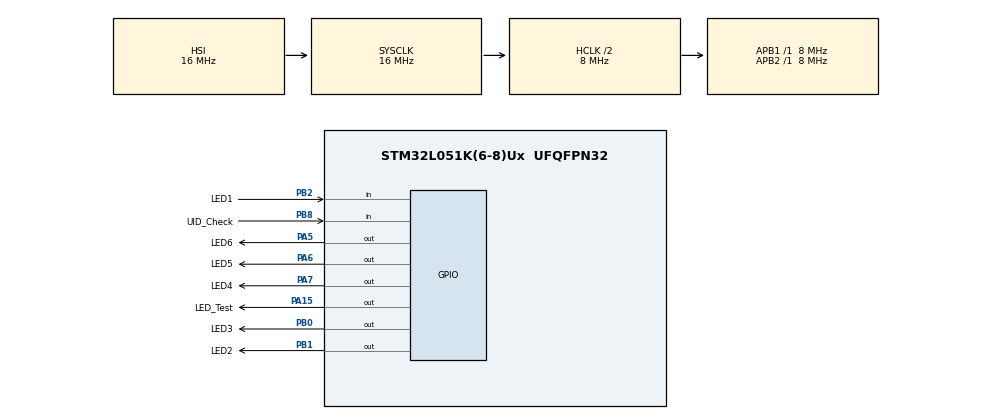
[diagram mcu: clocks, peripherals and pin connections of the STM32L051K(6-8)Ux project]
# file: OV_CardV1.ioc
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Mcu.Family=STM32L0
Mcu.Name=STM32L051K(6-8)Ux
Mcu.Package=UFQFPN32
NVIC.PVD_IRQn=true\:0\:0\:false\:false\:true\:true\:true\:true
PA13.Mode=Serial_Wire
PA13.Signal=SYS_SWDIO
PA14.Mode=Serial_Wire
PA14.Signal=SYS_SWCLK
PA15.GPIO_Label=LED_Test
PA15.Signal=GPIO_Output
PA5.GPIO_Label=LED6
PA5.Signal=GPIO_Output
PA6.GPIO_Label=LED5
PA6.Signal=GPIO_Output
PA7.GPIO_Label=LED4
PA7.Signal=GPIO_Output
PB0.GPIO_Label=LED3
PB0.Signal=GPIO_Output
PB1.GPIO_Label=LED2
PB1.Signal=GPIO_Output
PB2.GPIO_Label=LED1
PB2.Signal=GPIO_Input
PB8.GPIO_Label=UID_Check
PB8.Signal=GPIO_Input
ProjectManager.HeapSize=0x200
ProjectManager.StackSize=0x400
ProjectManager.TargetToolchain=MDK-ARM V5.32
RCC.AHBCLKDivider=RCC_SYSCLK_DIV2
RCC.AHBFreq_Value=8000000
RCC.APB1Freq_Value=8000000
RCC.APB1TimFreq_Value=8000000
RCC.APB2Freq_Value=8000000
RCC.APB2TimFreq_Value=8000000
RCC.HCLKFreq_Value=8000000
RCC.HSI16_VALUE=16000000
RCC.HSI_VALUE=16000000
RCC.LSE_VALUE=32768
RCC.MSI_VALUE=2097000
RCC.SYSCLKFreq_VALUE=16000000
RCC.SYSCLKSource=RCC_SYSCLKSOURCE_HSI
RCC.VCOOutputFreq_Value=48000000
SYS.Mode=PWR_PVD_MODE_IT_RISING
SYS.PVDLevel=PWR_PVDLEVEL_6
VP_SYS_V_PVD_IN.Mode=Mode_PVD_Int
board=custom

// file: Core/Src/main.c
/* USER CODE BEGIN Header */
/**
  ******************************************************************************
  * @file           : main.c
  * @brief          : Main program body
  ******************************************************************************
  * @attention
  *
  * Copyright (c) 2023 STMicroelectronics.
  * All rights reserved.
  *
  * This software is licensed under terms that can be found in the LICENSE file
  * in the root directory of this software component.
  * If no LICENSE file comes with this software, it is provided AS-IS.
  *
  ******************************************************************************
  */
/* USER CODE END Header */
#include "main.h"
#include "gpio.h"

/* USER CODE BEGIN Includes */
#include "RC522.h"
#include "key.h"
#include "EEPROM.h"
/* USER CODE END Includes */

/* USER CODE BEGIN PV */

uint8_t RC522_ERRO = 1;
uint8_t EEPROM_ERRO = 1;

/* USER CODE END PV */

void SystemClock_Config(void);

/* USER CODE BEGIN 0 */
unsigned char snr, TagType[2], SelectedSnr[4], DefaultKey[6] = {0xFF, 0xFF, 0xFF, 0xFF, 0xFF, 0xFF};
/* USER CODE END 0 */

int main(void)
{
  /* USER CODE BEGIN 1 */

	uint8_t status;
	uint8_t read_buf[16];
	uint8_t data_addr;
	uint8_t cuid_flag = 1;
  /* USER CODE END 1 */

  /* MCU Configuration--------------------------------------------------------*/

  /* Reset of all peripherals, Initializes the Flash interface and the Systick. */
  HAL_Init();

  /* Configure the system clock */
  SystemClock_Config();

  /* Initialize all configured peripherals */
  MX_GPIO_Init();
  /* USER CODE BEGIN 2 */
	HAL_GPIO_WritePin(GPIOA,LED6_Pin|LED5_Pin|LED4_Pin,GPIO_PIN_RESET);
	HAL_GPIO_WritePin(GPIOB,LED1_Pin|LED2_Pin|LED3_Pin,GPIO_PIN_RESET);

	key_port_init();

	RC522_Port_Init();
	RC522_PowerOff();

	if(!EEPROM_Read_W_CHECK(0x00,read_buf,2))
	{
		if(read_buf[0] == 0x55 && read_buf[1] == 0xAA)
		{
			EEPROM_ERRO = 0;
			EEPROM_Read_W_CHECK(DATA_ADDR_ADDR,&data_addr,1);
		}
		else//first use
		{
			read_buf[0] = 0x55;
			read_buf[1] = 0xAA;
			read_buf[2] = 0x10;
			EEPROM_ERRO = EEPROM_Write_W_CHECK(0,read_buf,3);
		}
	}

	HAL_GPIO_WritePin(GPIOA,GPIO_PIN_15,GPIO_PIN_SET);
  /* USER CODE END 2 */

  /* Infinite loop */
  while (1)
  {

    /* USER CODE BEGIN 3 */

		/*****************Key Scan*****************/
		uint8_t key;
		key = KeyScan(0);
		if(key == 1)
		{
			data_addr -= 0x10;//data_addr --, change to previous UID
			if(data_addr<0x10)
				data_addr = 0x10*ID_NUM;
			HAL_GPIO_WritePin(UID_Check_GPIO_Port,UID_Check_Pin,GPIO_PIN_SET);
			if(!EEPROM_ERRO)
			{
				EEPROM_Write_W_CHECK(DATA_ADDR_ADDR,&data_addr,1);
			}
			cuid_flag = 1;
			HAL_GPIO_WritePin(GPIOA,LED6_Pin|LED5_Pin|LED4_Pin,GPIO_PIN_RESET);
			HAL_GPIO_WritePin(GPIOB,LED1_Pin|LED2_Pin|LED3_Pin,GPIO_PIN_RESET);
		}
		else if(key == 2)
		{
			data_addr += 0x10;//data_addr add, change to next UID
			if(data_addr>(0x10*ID_NUM))
				data_addr = 0x10;
			HAL_GPIO_WritePin(UID_Check_GPIO_Port,UID_Check_Pin,GPIO_PIN_SET);
			if(!EEPROM_ERRO)
			{
				EEPROM_Write_W_CHECK(DATA_ADDR_ADDR,&data_addr,1);
			}
			cuid_flag = 1;
			HAL_GPIO_WritePin(GPIOA,LED6_Pin|LED5_Pin|LED4_Pin,GPIO_PIN_RESET);
			HAL_GPIO_WritePin(GPIOB,LED1_Pin|LED2_Pin|LED3_Pin,GPIO_PIN_RESET);
		}
		/******************************************/

		/*********check the ID Change and turn the LED**************/
		uint8_t temp = data_addr>>4 & 0x0f;
		//temp = temp>>4 & 0x0F;
		switch(temp)
		{
			case 1:
				HAL_GPIO_WritePin(GPIOB,LED1_Pin,GPIO_PIN_SET);
				break;
			case 2:
				HAL_GPIO_WritePin(GPIOB,LED2_Pin,GPIO_PIN_SET);
				break;
			case 3:
				HAL_GPIO_WritePin(GPIOB,LED3_Pin,GPIO_PIN_SET);
				break;
			case 4:
				HAL_GPIO_WritePin(GPIOA,LED4_Pin,GPIO_PIN_SET);
				break;
			case 5:
				HAL_GPIO_WritePin(GPIOA,LED5_Pin,GPIO_PIN_SET);
				break;
			case 6:
				HAL_GPIO_WritePin(GPIOA,LED6_Pin,GPIO_PIN_SET);
				break;
		}
		/***********************************************************/

		/*********check the CUID card is selected or not************/
		if(HAL_GPIO_ReadPin(GPIOB,GPIO_PIN_8))//the UID card is selected
		{
			if(cuid_flag)
			{
				RC522_ERRO = RC522_Init();
				/*************write the cuid************/
				status= PcdRequest(REQ_ALL,TagType);
				if(!status)
				{
					status = PcdAnticoll(SelectedSnr);
					if(!status)
					{
						status=PcdSelect(SelectedSnr);
						if(!status)
						{
							snr = 0;  //sector 0
							status = PcdAuthState(KEYA, (snr*4+3), DefaultKey, SelectedSnr);
							{
								if(!status)
								{
									if(!EEPROM_ERRO)
									{
										EEPROM_Read_W_CHECK(data_addr,read_buf,16);
									}
									status = PcdWrite((snr*4+0), read_buf);
									if(!status)
									{
										HAL_GPIO_WritePin(GPIOA,GPIO_PIN_15,GPIO_PIN_SET);
										cuid_flag = 0;
										//WaitCardOff();
										HAL_GPIO_WritePin(GPIOA,GPIO_PIN_15,GPIO_PIN_RESET);
										RC522_PowerOff();
									}
								}
							}
						}
					}
				}
				/***************************************/
			}
		}
		else	//the UID card is disabled
		{
			/***********search the card***************/
			if(cuid_flag)
			{
				RC522_ERRO = RC522_Init();
				status= PcdRequest(REQ_ALL,TagType);
				if(!status)
				{
					status = PcdAnticoll(SelectedSnr);
					if(!status)
					{
						status=PcdSelect(SelectedSnr);
						if(!status)
						{
							snr = 0;  //sector 0
							status = PcdAuthState(KEYA, (snr*4+3), DefaultKey, SelectedSnr);
							{
								if(!status)
								{
									status = PcdRead((snr*4+0), read_buf);
									if(!status)
									{
										HAL_GPIO_WritePin(GPIOA,GPIO_PIN_15,GPIO_PIN_SET);
										//WaitCardOff();
										if(!EEPROM_ERRO)
										{
											EEPROM_Write_W_CHECK(data_addr,read_buf,16);
										}
										HAL_GPIO_WritePin(GPIOA,GPIO_PIN_15,GPIO_PIN_RESET);
										//return 0;
										RC522_PowerOff();
										cuid_flag = 0;
									}
								}
							}
						}
					}
				}
			}
			/****************************************/
		}
		/***********************************************************/

  }
  /* USER CODE END 3 */
}

void SystemClock_Config(void)
{
  RCC_OscInitTypeDef RCC_OscInitStruct = {0};
  RCC_ClkInitTypeDef RCC_ClkInitStruct = {0};

  /** Configure the main internal regulator output voltage
  */
  __HAL_PWR_VOLTAGESCALING_CONFIG(PWR_REGULATOR_VOLTAGE_SCALE1);

  /** Initializes the RCC Oscillators according to the specified parameters
  * in the RCC_OscInitTypeDef structure.
  */
  RCC_OscInitStruct.OscillatorType = RCC_OSCILLATORTYPE_HSI;
  RCC_OscInitStruct.HSIState = RCC_HSI_ON;
  RCC_OscInitStruct.HSICalibrationValue = RCC_HSICALIBRATION_DEFAULT;
  RCC_OscInitStruct.PLL.PLLState = RCC_PLL_NONE;
  if (HAL_RCC_OscConfig(&RCC_OscInitStruct) != HAL_OK)
  {
    Error_Handler();
  }

  /** Initializes the CPU, AHB and APB buses clocks
  */
  RCC_ClkInitStruct.ClockType = RCC_CLOCKTYPE_HCLK|RCC_CLOCKTYPE_SYSCLK
                              |RCC_CLOCKTYPE_PCLK1|RCC_CLOCKTYPE_PCLK2;
  RCC_ClkInitStruct.SYSCLKSource = RCC_SYSCLKSOURCE_HSI;
  RCC_ClkInitStruct.AHBCLKDivider = RCC_SYSCLK_DIV2;
  RCC_ClkInitStruct.APB1CLKDivider = RCC_HCLK_DIV1;
  RCC_ClkInitStruct.APB2CLKDivider = RCC_HCLK_DIV1;

  if (HAL_RCC_ClockConfig(&RCC_ClkInitStruct, FLASH_LATENCY_0) != HAL_OK)
  {
    Error_Handler();
  }
}

void Error_Handler(void)
{
  __disable_irq();
  while (1)
  {
  }
}
